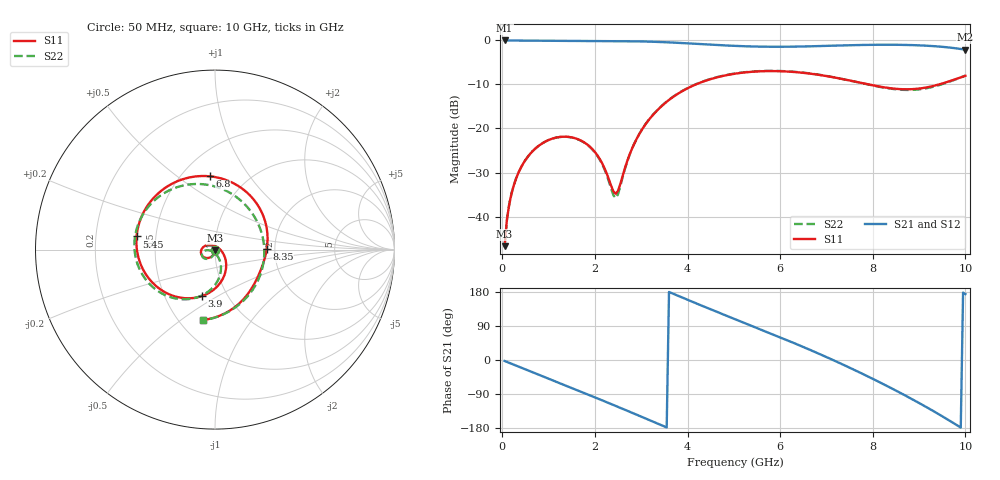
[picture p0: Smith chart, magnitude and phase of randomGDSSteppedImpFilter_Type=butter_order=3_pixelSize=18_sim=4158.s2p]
! freq	dB(S11)	phase(S11)	dB(S12)	phase(S12)
!  dB(S21)	phase(S21)	dB(S22)	phase(S22)
!S-par simulation data
#  GHz  S  DB  R 50
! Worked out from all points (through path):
!   200 points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, 50 MHz to 10 GHz, reference 50 ohm
!   highest |S21| = 0.00 dB at 50 MHz (marker M1); lowest = -2.1 dB at 10 GHz (marker M2)
!   group delay of S21, straight-line fit = 147 ps
!   lowest |S11| = -46.7 dB at 50 MHz (marker M3), VSWR 1.01, Z = 50 - j0.46 ohm
!   |S11| at or under -10 dB: start of sweep to 4.177 GHz; 7.907 GHz to 9.429 GHz (1.522 GHz wide, 17.6 % of centre)
!   |S22| runs from -46.7 to -6.9 dB; largest |S21 - S12| = 0
!   S11 on the Smith chart (normalised r, x): 50 MHz: 1.00, -0.01; 3.9 GHz: 0.76, -0.43; 5.45 GHz: 0.39, +0.07; 6.8 GHz: 0.68, +0.67; 8.35 GHz: 1.81, +0.00; 10 GHz: 0.65, -0.61
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0.05  -46.73 -91.9  -0.00 -2.5  -0.00 -2.5  -46.71 -91.6
0.1  -40.72 -95.0  -0.01 -5.0  -0.01 -5.0  -40.71 -94.4
0.2  -34.75 -100.6  -0.02 -10.0  -0.02 -10.0  -34.74 -99.3
0.55  -26.43 -119.5  -0.05 -27.2  -0.05 -27.2  -26.42 -115.8
1.1  -22.24 -149.3  -0.09 -54.2  -0.09 -54.2  -22.25 -140.8
1.75  -23.04 172.6  -0.12 -86.2  -0.12 -86.2  -23.08 -167.6
2.1  -26.85 145.0  -0.13 -103.6  -0.13 -103.6  -26.99 -175.7
2.45  -34.84 58.3  -0.14 -121.2  -0.14 -121.2  -35.80 -121.3
2.85  -23.44 -36.6  -0.19 -141.7  -0.19 -141.7  -23.44 -66.6
3.4  -15.31 -76.2  -0.35 -170.2  -0.35 -170.2  -15.27 -84.7
3.9  -11.43 -105.5  -0.60 164.1  -0.60 164.1  -11.39 -106.9
4.5  -8.78 -138.6  -0.96 133.7  -0.96 133.7  -8.74 -134.0
5.05  -7.51 -168.1  -1.25 106.6  -1.25 106.6  -7.46 -158.5
5.45  -7.07 170.5  -1.39 87.0  -1.39 87.0  -7.02 -176.0
6.05  -7.01 137.7  -1.44 57.3  -1.44 57.3  -6.96 157.8
6.7  -7.61 100.1  -1.32 23.9  -1.32 23.9  -7.57 128.5
6.8  -7.76 94.2  -1.29 18.5  -1.29 18.5  -7.72 123.8
7.55  -9.21 48.0  -1.08 -23.1  -1.08 -23.1  -9.22 86.7
8.35  -10.81 0.2  -0.98 -71.2  -0.98 -71.2  -10.91 38.4
9.1  -10.78 -39.8  -1.16 -120.3  -1.16 -120.3  -10.97 -20.9
9.6  -9.46 -69.7  -1.55 -155.7  -1.55 -155.7  -9.58 -64.7
10  -8.02 -99.3  -2.11 173.9  -2.11 173.9  -7.99 -99.3
